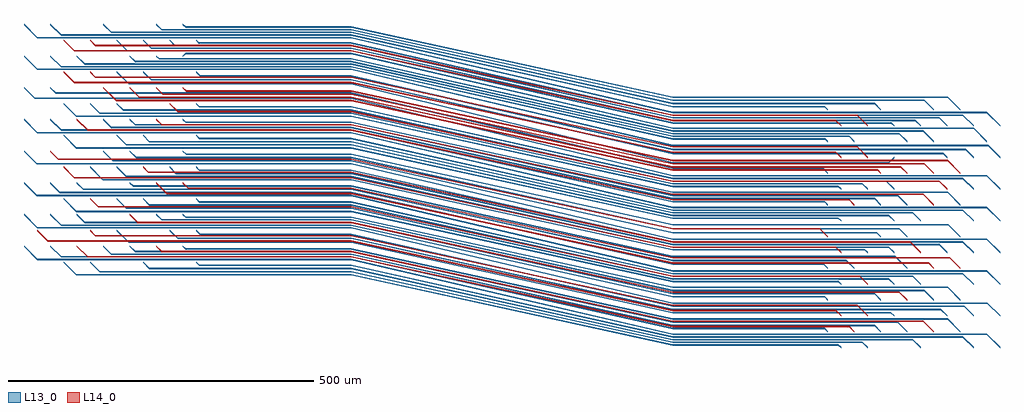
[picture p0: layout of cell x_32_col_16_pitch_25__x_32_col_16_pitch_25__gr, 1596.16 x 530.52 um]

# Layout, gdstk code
import gdstk
lib = gdstk.Library(unit=1e-6, precision=1e-09)
def R(c, l, rs):  # rectangles x0, y0, x1, y1
    for r in rs: c.add(gdstk.rectangle(r[:2], r[2:], *l))
def A(c, l, x, y, w, h, nx, ny, dx, dy):  # array of equal rectangles
    R(c, l, [(x+i*dx, y+j*dy, x+i*dx+w, y+j*dy+h) for i in range(nx) for j in range(ny)])
def P(c, l, *ps):  # polygons
    for p in ps: c.add(gdstk.Polygon(p, *l))
L13_0 = (13, 0)
L14_0 = (14, 0)

x_32_col_16_pitch_25__x_ = lib.new_cell('x_32_col_16_pitch_25__x_32_col_16_pitch_25__gr')
A(x_32_col_16_pitch_25__x_, L13_0, 2400, 1351.56, 271.46, 2, 1, 3, 0, 103.68)
A(x_32_col_16_pitch_25__x_, L13_0, 2400, 1360.2, 392.72, 2, 1, 3, 0, 103.68)
A(x_32_col_16_pitch_25__x_, L13_0, 2400, 1430.184, 248.946, 2, 1, 3, 0, 155.52)
A(x_32_col_16_pitch_25__x_, L13_0, 2400, 1435.368, 330.362, 2, 1, 3, 0, 155.52)
A(x_32_col_16_pitch_25__x_, L13_0, 2400, 1445.736, 449.894, 2, 1, 3, 0, 155.52)
A(x_32_col_16_pitch_25__x_, L13_0, 2400, 1459.56, 353.74, 2, 1, 3, 0, 51.84)
A(x_32_col_16_pitch_25__x_, L13_0, 1425.106, 1466.224, 449.894, 2, 1, 3, 0, 103.68)
A(x_32_col_16_pitch_25__x_, L13_0, 2400, 1468.2, 475, 2, 1, 4, 0, 51.84)
A(x_32_col_16_pitch_25__x_, L13_0, 2400, 1472.52, 513.982, 2, 1, 4, 0, 51.84)
A(x_32_col_16_pitch_25__x_, L13_0, 1544.638, 1476.592, 330.362, 2, 1, 3, 0, 103.68)
A(x_32_col_16_pitch_25__x_, L13_0, 1506.522, 1575.088, 368.478, 2, 1, 3, 0, 51.84)
A(x_32_col_16_pitch_25__x_, L13_0, 1626.054, 1585.456, 248.946, 2, 1, 4, 0, 51.84)
R(x_32_col_16_pitch_25__x_, L13_0, [(2400,1355.88,2710.44,1357.88), (2400,1364.52,2875,1366.52), (2400,1368.84,2913.982,1370.84), (2400,1378.344,2648.946,1380.344), (2400,1383.528,2730.362,1385.528), (2400,1388.712,2768.478,1390.712), (2400,1393.896,2849.894,1395.896), (2400,1404.264,2757.196,1406.264), (2400,1409.448,2838.612,1411.448), (2400,1414.632,2876.728,1416.632), (2400,1419.816,2914.846,1421.816), (2400,1440.552,2811.778,1442.552), (1463.222,1471.408,1875,1473.408), (1626.054,1481.776,1875,1483.776), (2400,1483.32,2647.65,1485.32), (2400,1489.8,2684.47,1491.8), (1361.017,1491.28,1875,1493.28), (1400,1495.6,1875,1497.6), (2400,1496.28,2764.59,1498.28), (1482.28,1499.92,1875,1501.92), (1521.26,1504.24,1875,1506.24), (2400,1507.08,2714.76,1509.08), (1603.54,1508.56,1875,1510.56), (2400,1515.72,2836.02,1517.72), (1510.41,1519.36,1875,1521.36), (1590.53,1525.84,1875,1527.84), (1627.35,1532.32,1875,1534.32), (2400,1535.16,2734.25,1537.16), (2400,1541.64,2771.07,1543.64), (1361.017,1543.12,1875,1545.12), (1400,1547.44,1875,1549.44), (2400,1548.12,2851.19,1550.12), (1438.98,1551.76,1875,1553.76), (1564.56,1556.08,1875,1558.08), (1603.54,1560.4,1875,1562.4), (1360.153,1595.824,1875,1597.824), (2400,1596.072,2768.478,1598.072), (1398.272,1601.008,1875,1603.008), (1436.388,1606.192,1875,1608.192), (2400,1610.76,2671.46,1612.76), (1517.804,1611.376,1875,1613.376), (2400,1615.08,2710.44,1617.08), (2400,1619.4,2749.42,1621.4), (1468.406,1621.744,1875,1623.744), (1587.938,1632.112,1875,1634.112), (2400,1641,2645.49,1643), (1360.153,1647.664,1875,1649.664), (2400,1649.64,2753.74,1651.64), (1484.872,1652.848,1875,1654.848), (1522.988,1658.032,1875,1660.032), (1604.404,1663.216,1875,1665.216), (2400,1664.76,2842.5,1666.76), (2400,1671.24,2879.32,1673.24), (2400,1677.72,2916.142,1679.72), (2400,1688.52,2649.81,1690.52), (2400,1692.84,2688.79,1694.84), (2400,1697.16,2771.07,1699.16), (1361.017,1698.64,1875,1700.64), (2400,1701.48,2810.05,1703.48), (1400,1702.96,1875,1704.96), (2400,1705.8,2892.332,1707.8), (1482.28,1707.28,1875,1709.28), (1521.26,1711.6,1875,1713.6), (2400,1714.44,2758.06,1716.44), (1603.54,1715.92,1875,1717.92), (2400,1718.76,2797.04,1720.76), (2400,1723.08,2836.02,1725.08), (1425.106,1725.424,1875,1727.424), (2400,1727.4,2875,1729.4), (1463.222,1730.608,1875,1732.608), (2400,1731.72,2913.982,1733.72), (1501.338,1735.792,1875,1737.792), (2400,1751.592,2811.778,1753.592), (1356.697,1754.8,1875,1756.8), (1391.36,1763.44,1875,1765.44), (1510.41,1778.56,1875,1780.56), (1547.23,1785.04,1875,1787.04), (1627.35,1791.52,1875,1793.52), (1361.017,1802.32,1875,1804.32), (1400,1806.64,1875,1808.64), (1438.98,1810.96,1875,1812.96), (1521.26,1815.28,1875,1817.28), (1560.24,1819.6,1875,1821.6), (1603.54,1828.24,1875,1830.24), (1508.25,1832.56,1875,1834.56), (1547.23,1836.88,1875,1838.88), (1586.21,1841.2,1875,1843.2), (1625.19,1845.52,1875,1847.52), (1361.017,1854.16,1875,1856.16), (1400,1858.48,1875,1860.48), (1482.28,1862.8,1875,1864.8), (1564.56,1867.12,1875,1869.12), (1603.54,1871.44,1875,1873.44)])
P(x_32_col_16_pitch_25__x_, L13_0, [(2654.13,1736.04),(2654.13,1738.04),(2648.946,1743.224),(2648.946,1741.224)],
  [(2400,1741.224),(2400,1743.224),(1875,1860.48),(1875,1858.48)],
  [(1400,1858.48),(1400,1860.48),(1382.72,1877.76),(1382.72,1875.76)],
  [(2740.73,1736.04),(2740.73,1738.04),(2730.362,1748.408),(2730.362,1746.408)],
  [(2400,1746.408),(2400,1748.408),(1875,1864.8),(1875,1862.8)],
  [(1482.28,1862.8),(1482.28,1864.8),(1469.32,1877.76),(1469.32,1875.76)],
  [(2827.33,1736.04),(2827.33,1738.04),(2811.778,1753.592),(2811.778,1751.592)],
  [(2400,1751.592),(2400,1753.592),(1875,1869.12),(1875,1867.12)],
  [(1564.56,1867.12),(1564.56,1869.12),(1555.92,1877.76),(1555.92,1875.76)],
  [(2870.63,1736.04),(2870.63,1738.04),(2849.894,1758.776),(2849.894,1756.776)],
  [(2400,1756.776),(2400,1758.776),(1875,1873.44),(1875,1871.44)],
  [(1603.54,1871.44),(1603.54,1873.44),(1599.22,1877.76),(1599.22,1875.76)],
  [(2762.38,1710.12),(2762.38,1712.12),(2758.06,1716.44),(2758.06,1714.44)],
  [(2400,1714.44),(2400,1716.44),(1875,1834.56),(1875,1832.56)],
  [(1508.25,1832.56),(1508.25,1834.56),(1490.97,1851.84),(1490.97,1849.84)],
  [(2805.68,1710.12),(2805.68,1712.12),(2797.04,1720.76),(2797.04,1718.76)],
  [(2400,1718.76),(2400,1720.76),(1875,1838.88),(1875,1836.88)],
  [(1547.23,1836.88),(1547.23,1838.88),(1534.27,1851.84),(1534.27,1849.84)],
  [(2848.98,1710.12),(2848.98,1712.12),(2836.02,1725.08),(2836.02,1723.08)],
  [(2400,1723.08),(2400,1725.08),(1875,1843.2),(1875,1841.2)],
  [(1586.21,1841.2),(1586.21,1843.2),(1577.57,1851.84),(1577.57,1849.84)],
  [(2892.28,1710.12),(2892.28,1712.12),(2875,1729.4),(2875,1727.4)],
  [(2400,1727.4),(2400,1729.4),(1875,1847.52),(1875,1845.52)],
  [(1625.19,1845.52),(1625.19,1847.52),(1620.87,1851.84),(1620.87,1849.84)],
  [(2935.582,1710.12),(2935.582,1712.12),(2913.982,1733.72),(2913.982,1731.72)],
  [(2400,1731.72),(2400,1733.72),(1875,1856.16),(1875,1854.16)],
  [(1361.017,1854.16),(1361.017,1856.16),(1339.417,1877.76),(1339.417,1875.76)],
  [(2654.13,1684.2),(2654.13,1686.2),(2649.81,1690.52),(2649.81,1688.52)],
  [(2400,1688.52),(2400,1690.52),(1875,1808.64),(1875,1806.64)],
  [(1400,1806.64),(1400,1808.64),(1382.72,1825.92),(1382.72,1823.92)],
  [(2697.43,1684.2),(2697.43,1686.2),(2688.79,1694.84),(2688.79,1692.84)],
  [(2400,1692.84),(2400,1694.84),(1875,1812.96),(1875,1810.96)],
  [(1438.98,1810.96),(1438.98,1812.96),(1426.02,1825.92),(1426.02,1823.92)],
  [(2784.03,1684.2),(2784.03,1686.2),(2771.07,1699.16),(2771.07,1697.16)],
  [(2400,1697.16),(2400,1699.16),(1875,1817.28),(1875,1815.28)],
  [(1521.26,1815.28),(1521.26,1817.28),(1512.62,1825.92),(1512.62,1823.92)],
  [(2827.33,1684.2),(2827.33,1686.2),(2810.05,1703.48),(2810.05,1701.48)],
  [(2400,1701.48),(2400,1703.48),(1875,1821.6),(1875,1819.6)],
  [(1560.24,1819.6),(1560.24,1821.6),(1555.92,1825.92),(1555.92,1823.92)],
  [(2913.932,1684.2),(2913.932,1686.2),(2892.332,1707.8),(2892.332,1705.8)],
  [(2400,1705.8),(2400,1707.8),(1875,1830.24),(1875,1828.24)],
  [(1603.54,1828.24),(1603.54,1830.24),(1599.22,1825.92),(1599.22,1823.92)],
  [(2762.38,1658.28),(2762.38,1660.28),(2753.74,1651.64),(2753.74,1649.64)],
  [(2400,1649.64),(2400,1651.64),(1875,1780.56),(1875,1778.56)],
  [(1510.41,1778.56),(1510.41,1780.56),(1490.97,1800),(1490.97,1798)],
  [(2848.98,1658.28),(2848.98,1660.28),(2842.5,1666.76),(2842.5,1664.76)],
  [(2400,1664.76),(2400,1666.76),(1875,1787.04),(1875,1785.04)],
  [(1547.23,1785.04),(1547.23,1787.04),(1534.27,1800),(1534.27,1798)],
  [(2892.28,1658.28),(2892.28,1660.28),(2879.32,1673.24),(2879.32,1671.24)],
  [(2400,1671.24),(2400,1673.24),(1875,1793.52),(1875,1791.52)],
  [(1627.35,1791.52),(1627.35,1793.52),(1620.87,1800),(1620.87,1798)],
  [(2935.582,1658.28),(2935.582,1660.28),(2916.142,1679.72),(2916.142,1677.72)],
  [(2400,1677.72),(2400,1679.72),(1875,1804.32),(1875,1802.32)],
  [(1361.017,1802.32),(1361.017,1804.32),(1339.417,1825.92),(1339.417,1823.92)],
  [(2654.13,1632.36),(2654.13,1634.36),(2645.49,1643),(2645.49,1641)],
  [(2400,1641),(2400,1643),(1875,1765.44),(1875,1763.44)],
  [(1391.36,1763.44),(1391.36,1765.44),(1382.72,1774.08),(1382.72,1772.08)],
  [(2675.78,1606.44),(2675.78,1608.44),(2671.46,1612.76),(2671.46,1610.76)],
  [(2400,1610.76),(2400,1612.76),(1875,1727.424),(1875,1725.424)],
  [(1425.106,1725.424),(1425.106,1727.424),(1404.37,1748.16),(1404.37,1746.16)],
  [(2719.08,1606.44),(2719.08,1608.44),(2710.44,1617.08),(2710.44,1615.08)],
  [(2400,1615.08),(2400,1617.08),(1875,1732.608),(1875,1730.608)],
  [(1463.222,1730.608),(1463.222,1732.608),(1447.67,1748.16),(1447.67,1746.16)],
  [(2762.38,1606.44),(2762.38,1608.44),(2749.42,1621.4),(2749.42,1619.4)],
  [(2400,1619.4),(2400,1621.4),(1875,1737.792),(1875,1735.792)],
  [(1501.338,1735.792),(1501.338,1737.792),(1490.97,1748.16),(1490.97,1746.16)],
  [(2892.28,1606.44),(2892.28,1608.44),(2875,1625.72),(2875,1623.72)],
  [(2400,1623.72),(2400,1625.72),(1875,1742.976),(1875,1740.976)],
  [(1626.054,1740.976),(1626.054,1742.976),(1620.87,1748.16),(1620.87,1746.16)],
  [(2935.582,1606.44),(2935.582,1608.44),(2913.982,1630.04),(2913.982,1628.04)],
  [(2400,1628.04),(2400,1630.04),(1875,1756.8),(1875,1754.8)],
  [(1356.697,1754.8),(1356.697,1756.8),(1339.417,1774.08),(1339.417,1772.08)],
  [(2654.13,1580.52),(2654.13,1582.52),(2648.946,1587.704),(2648.946,1585.704)],
  [(2400,1585.704),(2400,1587.704),(1875,1704.96),(1875,1702.96)],
  [(1400,1702.96),(1400,1704.96),(1382.72,1722.24),(1382.72,1720.24)],
  [(2740.73,1580.52),(2740.73,1582.52),(2730.362,1592.888),(2730.362,1590.888)],
  [(2400,1590.888),(2400,1592.888),(1875,1709.28),(1875,1707.28)],
  [(1482.28,1707.28),(1482.28,1709.28),(1469.32,1722.24),(1469.32,1720.24)],
  [(2784.03,1580.52),(2784.03,1582.52),(2768.478,1598.072),(2768.478,1596.072)],
  [(2400,1596.072),(2400,1598.072),(1875,1713.6),(1875,1711.6)],
  [(1521.26,1711.6),(1521.26,1713.6),(1512.62,1722.24),(1512.62,1720.24)],
  [(2870.63,1580.52),(2870.63,1582.52),(2849.894,1603.256),(2849.894,1601.256)],
  [(2400,1601.256),(2400,1603.256),(1875,1717.92),(1875,1715.92)],
  [(1603.54,1715.92),(1603.54,1717.92),(1599.22,1722.24),(1599.22,1720.24)],
  [(2675.78,1554.6),(2675.78,1556.6),(2671.46,1560.92),(2671.46,1558.92)],
  [(2400,1558.92),(2400,1560.92),(1875,1675.584),(1875,1673.584)],
  [(1425.106,1673.584),(1425.106,1675.584),(1404.37,1696.32),(1404.37,1694.32)],
  [(2762.38,1554.6),(2762.38,1556.6),(2753.74,1565.24),(2753.74,1563.24)],
  [(2400,1563.24),(2400,1565.24),(1875,1680.768),(1875,1678.768)],
  [(1506.522,1678.768),(1506.522,1680.768),(1490.97,1696.32),(1490.97,1694.32)],
  [(2805.68,1554.6),(2805.68,1556.6),(2792.72,1569.56),(2792.72,1567.56)],
  [(2400,1567.56),(2400,1569.56),(1875,1685.952),(1875,1683.952)],
  [(1544.638,1683.952),(1544.638,1685.952),(1534.27,1696.32),(1534.27,1694.32)],
  [(2892.28,1554.6),(2892.28,1556.6),(2875,1573.88),(2875,1571.88)],
  [(2400,1571.88),(2400,1573.88),(1875,1691.136),(1875,1689.136)],
  [(1626.054,1689.136),(1626.054,1691.136),(1620.87,1696.32),(1620.87,1694.32)],
  [(2935.582,1554.6),(2935.582,1556.6),(2913.982,1578.2),(2913.982,1576.2)],
  [(2400,1576.2),(2400,1578.2),(1875,1700.64),(1875,1698.64)],
  [(1361.017,1698.64),(1361.017,1700.64),(1339.417,1722.24),(1339.417,1720.24)],
  [(2740.73,1528.68),(2740.73,1530.68),(2734.25,1537.16),(2734.25,1535.16)],
  [(2400,1535.16),(2400,1537.16),(1875,1654.848),(1875,1652.848)],
  [(1484.872,1652.848),(1484.872,1654.848),(1469.32,1670.4),(1469.32,1668.4)],
  [(2784.03,1528.68),(2784.03,1530.68),(2771.07,1543.64),(2771.07,1541.64)],
  [(2400,1541.64),(2400,1543.64),(1875,1660.032),(1875,1658.032)],
  [(1522.988,1658.032),(1522.988,1660.032),(1512.62,1670.4),(1512.62,1668.4)],
  [(2870.63,1528.68),(2870.63,1530.68),(2851.19,1550.12),(2851.19,1548.12)],
  [(2400,1548.12),(2400,1550.12),(1875,1665.216),(1875,1663.216)],
  [(1604.404,1663.216),(1604.404,1665.216),(1599.22,1670.4),(1599.22,1668.4)],
  [(2719.08,1502.76),(2719.08,1504.76),(2714.76,1509.08),(2714.76,1507.08)],
  [(2400,1507.08),(2400,1509.08),(1875,1623.744),(1875,1621.744)],
  [(1468.406,1621.744),(1468.406,1623.744),(1447.67,1644.48),(1447.67,1642.48)],
  [(2762.38,1502.76),(2762.38,1504.76),(2753.74,1513.4),(2753.74,1511.4)],
  [(2400,1511.4),(2400,1513.4),(1875,1628.928),(1875,1626.928)],
  [(1506.522,1626.928),(1506.522,1628.928),(1490.97,1644.48),(1490.97,1642.48)],
  [(2848.98,1502.76),(2848.98,1504.76),(2836.02,1517.72),(2836.02,1515.72)],
  [(2400,1515.72),(2400,1517.72),(1875,1634.112),(1875,1632.112)],
  [(1587.938,1632.112),(1587.938,1634.112),(1577.57,1644.48),(1577.57,1642.48)],
  [(2892.28,1502.76),(2892.28,1504.76),(2875,1522.04),(2875,1520.04)],
  [(2400,1520.04),(2400,1522.04),(1875,1639.296),(1875,1637.296)],
  [(1626.054,1637.296),(1626.054,1639.296),(1620.87,1644.48),(1620.87,1642.48)],
  [(2935.582,1502.76),(2935.582,1504.76),(2913.982,1526.36),(2913.982,1524.36)],
  [(2400,1524.36),(2400,1526.36),(1875,1649.664),(1875,1647.664)],
  [(1360.153,1647.664),(1360.153,1649.664),(1339.417,1670.4),(1339.417,1668.4)],
  [(2654.13,1476.84),(2654.13,1478.84),(2647.65,1485.32),(2647.65,1483.32)],
  [(2400,1483.32),(2400,1485.32),(1875,1603.008),(1875,1601.008)],
  [(1398.272,1601.008),(1398.272,1603.008),(1382.72,1618.56),(1382.72,1616.56)],
  [(2697.43,1476.84),(2697.43,1478.84),(2684.47,1491.8),(2684.47,1489.8)],
  [(2400,1489.8),(2400,1491.8),(1875,1608.192),(1875,1606.192)],
  [(1436.388,1606.192),(1436.388,1608.192),(1426.02,1618.56),(1426.02,1616.56)],
  [(2784.03,1476.84),(2784.03,1478.84),(2764.59,1498.28),(2764.59,1496.28)],
  [(2400,1496.28),(2400,1498.28),(1875,1613.376),(1875,1611.376)],
  [(1517.804,1611.376),(1517.804,1613.376),(1512.62,1618.56),(1512.62,1616.56)],
  [(2675.78,1450.92),(2675.78,1452.92),(2671.46,1457.24),(2671.46,1455.24)],
  [(2400,1455.24),(2400,1457.24),(1875,1571.904),(1875,1569.904)],
  [(1425.106,1569.904),(1425.106,1571.904),(1404.37,1592.64),(1404.37,1590.64)],
  [(2762.38,1450.92),(2762.38,1452.92),(2753.74,1461.56),(2753.74,1459.56)],
  [(2400,1459.56),(2400,1461.56),(1875,1577.088),(1875,1575.088)],
  [(1506.522,1575.088),(1506.522,1577.088),(1490.97,1592.64),(1490.97,1590.64)],
  [(2805.68,1450.92),(2805.68,1452.92),(2792.72,1465.88),(2792.72,1463.88)],
  [(2400,1463.88),(2400,1465.88),(1875,1582.272),(1875,1580.272)],
  [(1544.638,1580.272),(1544.638,1582.272),(1534.27,1592.64),(1534.27,1590.64)],
  [(2892.28,1450.92),(2892.28,1452.92),(2875,1470.2),(2875,1468.2)],
  [(2400,1468.2),(2400,1470.2),(1875,1587.456),(1875,1585.456)],
  [(1626.054,1585.456),(1626.054,1587.456),(1620.87,1592.64),(1620.87,1590.64)],
  [(2935.582,1450.92),(2935.582,1452.92),(2913.982,1474.52),(2913.982,1472.52)],
  [(2400,1472.52),(2400,1474.52),(1875,1597.824),(1875,1595.824)],
  [(1360.153,1595.824),(1360.153,1597.824),(1339.417,1618.56),(1339.417,1616.56)],
  [(2654.13,1425),(2654.13,1427),(2648.946,1432.184),(2648.946,1430.184)],
  [(2400,1430.184),(2400,1432.184),(1875,1549.44),(1875,1547.44)],
  [(1400,1547.44),(1400,1549.44),(1382.72,1566.72),(1382.72,1564.72)],
  [(2740.73,1425),(2740.73,1427),(2730.362,1437.368),(2730.362,1435.368)],
  [(2400,1435.368),(2400,1437.368),(1875,1553.76),(1875,1551.76)],
  [(1438.98,1551.76),(1438.98,1553.76),(1426.02,1566.72),(1426.02,1564.72)],
  [(2827.33,1425),(2827.33,1427),(2811.778,1442.552),(2811.778,1440.552)],
  [(2400,1440.552),(2400,1442.552),(1875,1558.08),(1875,1556.08)],
  [(1564.56,1556.08),(1564.56,1558.08),(1555.92,1566.72),(1555.92,1564.72)],
  [(2870.63,1425),(2870.63,1427),(2849.894,1447.736),(2849.894,1445.736)],
  [(2400,1445.736),(2400,1447.736),(1875,1562.4),(1875,1560.4)],
  [(1603.54,1560.4),(1603.54,1562.4),(1599.22,1566.72),(1599.22,1564.72)],
  [(2762.38,1399.08),(2762.38,1401.08),(2757.196,1406.264),(2757.196,1404.264)],
  [(2400,1404.264),(2400,1406.264),(1875,1521.36),(1875,1519.36)],
  [(1510.41,1519.36),(1510.41,1521.36),(1490.97,1540.8),(1490.97,1538.8)],
  [(2848.98,1399.08),(2848.98,1401.08),(2838.612,1411.448),(2838.612,1409.448)],
  [(2400,1409.448),(2400,1411.448),(1875,1527.84),(1875,1525.84)],
  [(1590.53,1525.84),(1590.53,1527.84),(1577.57,1540.8),(1577.57,1538.8)],
  [(2892.28,1399.08),(2892.28,1401.08),(2876.728,1416.632),(2876.728,1414.632)],
  [(2400,1414.632),(2400,1416.632),(1875,1534.32),(1875,1532.32)],
  [(1627.35,1532.32),(1627.35,1534.32),(1620.87,1540.8),(1620.87,1538.8)],
  [(2935.582,1399.08),(2935.582,1401.08),(2914.846,1421.816),(2914.846,1419.816)],
  [(2400,1419.816),(2400,1421.816),(1875,1545.12),(1875,1543.12)],
  [(1361.017,1543.12),(1361.017,1545.12),(1339.417,1566.72),(1339.417,1564.72)],
  [(2654.13,1373.16),(2654.13,1375.16),(2648.946,1380.344),(2648.946,1378.344)],
  [(2400,1378.344),(2400,1380.344),(1875,1497.6),(1875,1495.6)],
  [(1400,1495.6),(1400,1497.6),(1382.72,1514.88),(1382.72,1512.88)],
  [(2740.73,1373.16),(2740.73,1375.16),(2730.362,1385.528),(2730.362,1383.528)],
  [(2400,1383.528),(2400,1385.528),(1875,1501.92),(1875,1499.92)],
  [(1482.28,1499.92),(1482.28,1501.92),(1469.32,1514.88),(1469.32,1512.88)],
  [(2784.03,1373.16),(2784.03,1375.16),(2768.478,1390.712),(2768.478,1388.712)],
  [(2400,1388.712),(2400,1390.712),(1875,1506.24),(1875,1504.24)],
  [(1521.26,1504.24),(1521.26,1506.24),(1512.62,1514.88),(1512.62,1512.88)],
  [(2870.63,1373.16),(2870.63,1375.16),(2849.894,1395.896),(2849.894,1393.896)],
  [(2400,1393.896),(2400,1395.896),(1875,1510.56),(1875,1508.56)],
  [(1603.54,1508.56),(1603.54,1510.56),(1599.22,1514.88),(1599.22,1512.88)],
  [(2675.78,1347.24),(2675.78,1349.24),(2671.46,1353.56),(2671.46,1351.56)],
  [(2400,1351.56),(2400,1353.56),(1875,1468.224),(1875,1466.224)],
  [(1425.106,1466.224),(1425.106,1468.224),(1404.37,1488.96),(1404.37,1486.96)],
  [(2719.08,1347.24),(2719.08,1349.24),(2710.44,1357.88),(2710.44,1355.88)],
  [(2400,1355.88),(2400,1357.88),(1875,1473.408),(1875,1471.408)],
  [(1463.222,1471.408),(1463.222,1473.408),(1447.67,1488.96),(1447.67,1486.96)],
  [(2805.68,1347.24),(2805.68,1349.24),(2792.72,1362.2),(2792.72,1360.2)],
  [(2400,1360.2),(2400,1362.2),(1875,1478.592),(1875,1476.592)],
  [(1544.638,1476.592),(1544.638,1478.592),(1534.27,1488.96),(1534.27,1486.96)],
  [(2892.28,1347.24),(2892.28,1349.24),(2875,1366.52),(2875,1364.52)],
  [(2400,1364.52),(2400,1366.52),(1875,1483.776),(1875,1481.776)],
  [(1626.054,1481.776),(1626.054,1483.776),(1620.87,1488.96),(1620.87,1486.96)],
  [(2935.582,1347.24),(2935.582,1349.24),(2913.982,1370.84),(2913.982,1368.84)],
  [(2400,1368.84),(2400,1370.84),(1875,1493.28),(1875,1491.28)],
  [(1361.017,1491.28),(1361.017,1493.28),(1339.417,1514.88),(1339.417,1512.88)])
R(x_32_col_16_pitch_25__x_, L14_0, [(2400,1381.8,2688.79,1383.8), (2400,1390.44,2810.05,1392.44), (2400,1407.72,2667.14,1409.72), (2400,1416.36,2701.8,1418.36), (2400,1437.96,2771.07,1439.96), (2400,1463.88,2706.12,1465.88), (2400,1485.48,2818.69,1487.48), (2400,1494.12,2853.35,1496.12), (1443.3,1495.6,1875,1497.6), (1564.56,1504.24,1875,1506.24), (2400,1511.4,2667.14,1513.4), (2400,1520.04,2788.4,1522.04), (1378.347,1521.52,1875,1523.52), (1456.31,1530.16,1875,1532.16), (2400,1541.64,2641.17,1543.64), (1525.58,1551.76,1875,1553.76), (1460.63,1577.68,1875,1579.68), (2400,1589.16,2688.79,1591.16), (2400,1597.8,2810.05,1599.8), (1573.2,1599.28,1875,1601.28), (1607.86,1607.92,1875,1609.92), (2400,1619.4,2836.02,1621.4), (1421.65,1625.2,1875,1627.2), (1542.91,1633.84,1875,1635.84), (2400,1637.544,2735.546,1639.544), (2400,1642.728,2773.662,1644.728), (2400,1647.912,2811.778,1649.912), (2400,1653.096,2849.894,1655.096), (1395.68,1655.44,1875,1657.44), (2400,1666.92,2667.14,1668.92), (2400,1675.56,2701.8,1677.56), (1443.3,1702.96,1875,1704.96), (1564.56,1711.6,1875,1713.6), (2400,1718.76,2667.14,1720.76), (2400,1727.4,2701.8,1729.4), (1590.53,1733.2,1875,1735.2), (1490.056,1751.344,1875,1753.344), (1528.172,1756.528,1875,1758.528), (1566.288,1761.712,1875,1763.712), (1604.404,1766.896,1875,1768.896), (1421.65,1780.72,1875,1782.72), (1456.31,1789.36,1875,1791.36), (1421.65,1832.56,1875,1834.56), (1456.31,1841.2,1875,1843.2)])
P(x_32_col_16_pitch_25__x_, L14_0, [(2675.78,1710.12),(2675.78,1712.12),(2667.14,1720.76),(2667.14,1718.76)],
  [(2400,1718.76),(2400,1720.76),(1875,1834.56),(1875,1832.56)],
  [(1421.65,1832.56),(1421.65,1834.56),(1404.37,1851.84),(1404.37,1849.84)],
  [(2719.08,1710.12),(2719.08,1712.12),(2701.8,1729.4),(2701.8,1727.4)],
  [(2400,1727.4),(2400,1729.4),(1875,1843.2),(1875,1841.2)],
  [(1456.31,1841.2),(1456.31,1843.2),(1447.67,1851.84),(1447.67,1849.84)],
  [(2675.78,1658.28),(2675.78,1660.28),(2667.14,1668.92),(2667.14,1666.92)],
  [(2400,1666.92),(2400,1668.92),(1875,1782.72),(1875,1780.72)],
  [(1421.65,1780.72),(1421.65,1782.72),(1404.37,1800),(1404.37,1798)],
  [(2719.08,1658.28),(2719.08,1660.28),(2701.8,1677.56),(2701.8,1675.56)],
  [(2400,1675.56),(2400,1677.56),(1875,1791.36),(1875,1789.36)],
  [(1456.31,1789.36),(1456.31,1791.36),(1447.67,1800),(1447.67,1798)],
  [(2740.73,1632.36),(2740.73,1634.36),(2735.546,1639.544),(2735.546,1637.544)],
  [(2400,1637.544),(2400,1639.544),(1875,1753.344),(1875,1751.344)],
  [(1490.056,1751.344),(1490.056,1753.344),(1469.32,1774.08),(1469.32,1772.08)],
  [(2784.03,1632.36),(2784.03,1634.36),(2773.662,1644.728),(2773.662,1642.728)],
  [(2400,1642.728),(2400,1644.728),(1875,1758.528),(1875,1756.528)],
  [(1528.172,1756.528),(1528.172,1758.528),(1512.62,1774.08),(1512.62,1772.08)],
  [(2827.33,1632.36),(2827.33,1634.36),(2811.778,1649.912),(2811.778,1647.912)],
  [(2400,1647.912),(2400,1649.912),(1875,1763.712),(1875,1761.712)],
  [(1566.288,1761.712),(1566.288,1763.712),(1555.92,1774.08),(1555.92,1772.08)],
  [(2870.63,1632.36),(2870.63,1634.36),(2849.894,1655.096),(2849.894,1653.096)],
  [(2400,1653.096),(2400,1655.096),(1875,1768.896),(1875,1766.896)],
  [(1604.404,1766.896),(1604.404,1768.896),(1599.22,1774.08),(1599.22,1772.08)],
  [(2848.98,1606.44),(2848.98,1608.44),(2836.02,1621.4),(2836.02,1619.4)],
  [(2400,1619.4),(2400,1621.4),(1875,1735.2),(1875,1733.2)],
  [(1590.53,1733.2),(1590.53,1735.2),(1577.57,1748.16),(1577.57,1746.16)],
  [(2697.43,1580.52),(2697.43,1582.52),(2688.79,1591.16),(2688.79,1589.16)],
  [(2400,1589.16),(2400,1591.16),(1875,1704.96),(1875,1702.96)],
  [(1443.3,1702.96),(1443.3,1704.96),(1426.02,1722.24),(1426.02,1720.24)],
  [(2827.33,1580.52),(2827.33,1582.52),(2810.05,1599.8),(2810.05,1597.8)],
  [(2400,1597.8),(2400,1599.8),(1875,1713.6),(1875,1711.6)],
  [(1564.56,1711.6),(1564.56,1713.6),(1555.92,1722.24),(1555.92,1720.24)],
  [(2654.13,1528.68),(2654.13,1530.68),(2641.17,1543.64),(2641.17,1541.64)],
  [(2400,1541.64),(2400,1543.64),(1875,1657.44),(1875,1655.44)],
  [(1395.68,1655.44),(1395.68,1657.44),(1382.72,1670.4),(1382.72,1668.4)],
  [(2675.78,1502.76),(2675.78,1504.76),(2667.14,1513.4),(2667.14,1511.4)],
  [(2400,1511.4),(2400,1513.4),(1875,1627.2),(1875,1625.2)],
  [(1421.65,1625.2),(1421.65,1627.2),(1404.37,1644.48),(1404.37,1642.48)],
  [(2805.68,1502.76),(2805.68,1504.76),(2788.4,1522.04),(2788.4,1520.04)],
  [(2400,1520.04),(2400,1522.04),(1875,1635.84),(1875,1633.84)],
  [(1542.91,1633.84),(1542.91,1635.84),(1534.27,1644.48),(1534.27,1642.48)],
  [(2827.33,1476.84),(2827.33,1478.84),(2818.69,1487.48),(2818.69,1485.48)],
  [(2400,1485.48),(2400,1487.48),(1875,1601.28),(1875,1599.28)],
  [(1573.2,1599.28),(1573.2,1601.28),(1555.92,1618.56),(1555.92,1616.56)],
  [(2870.63,1476.84),(2870.63,1478.84),(2853.35,1496.12),(2853.35,1494.12)],
  [(2400,1494.12),(2400,1496.12),(1875,1609.92),(1875,1607.92)],
  [(1607.86,1607.92),(1607.86,1609.92),(1599.22,1618.56),(1599.22,1616.56)],
  [(2719.08,1450.92),(2719.08,1452.92),(2706.12,1465.88),(2706.12,1463.88)],
  [(2400,1463.88),(2400,1465.88),(1875,1579.68),(1875,1577.68)],
  [(1460.63,1577.68),(1460.63,1579.68),(1447.67,1592.64),(1447.67,1590.64)],
  [(2784.03,1425),(2784.03,1427),(2771.07,1439.96),(2771.07,1437.96)],
  [(2400,1437.96),(2400,1439.96),(1875,1553.76),(1875,1551.76)],
  [(1525.58,1551.76),(1525.58,1553.76),(1512.62,1566.72),(1512.62,1564.72)],
  [(2675.78,1399.08),(2675.78,1401.08),(2667.14,1409.72),(2667.14,1407.72)],
  [(2400,1407.72),(2400,1409.72),(1875,1523.52),(1875,1521.52)],
  [(1378.347,1521.52),(1378.347,1523.52),(1361.067,1540.8),(1361.067,1538.8)],
  [(2719.08,1399.08),(2719.08,1401.08),(2701.8,1418.36),(2701.8,1416.36)],
  [(2400,1416.36),(2400,1418.36),(1875,1532.16),(1875,1530.16)],
  [(1456.31,1530.16),(1456.31,1532.16),(1447.67,1540.8),(1447.67,1538.8)],
  [(2697.43,1373.16),(2697.43,1375.16),(2688.79,1383.8),(2688.79,1381.8)],
  [(2400,1381.8),(2400,1383.8),(1875,1497.6),(1875,1495.6)],
  [(1443.3,1495.6),(1443.3,1497.6),(1426.02,1514.88),(1426.02,1512.88)],
  [(2827.33,1373.16),(2827.33,1375.16),(2810.05,1392.44),(2810.05,1390.44)],
  [(2400,1390.44),(2400,1392.44),(1875,1506.24),(1875,1504.24)],
  [(1564.56,1504.24),(1564.56,1506.24),(1555.92,1514.88),(1555.92,1512.88)])

lib.write_gds('x_32_col_16_pitch_25__x_32_col_16_pitch_25__gr.gds')
